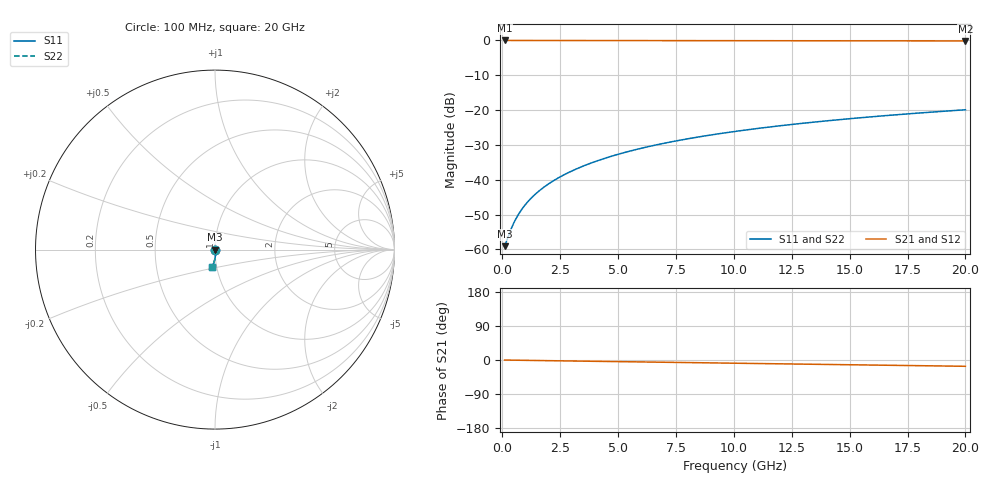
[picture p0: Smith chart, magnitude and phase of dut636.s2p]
! Touchstone file exported from HFSS 2026.1.0
!  File:  C:/ffzhzh/LocalFiles/Ansys_Project_Files/temp_train_BSMRDL_636_1783016677_55676.aedt
!  Generated:  02:25:53 AM Jul  3, 2026
!  Design:  BSMRDL
!  Project:  temp_train_BSMRDL_636_1783016677_55676
! Variables:
!  h_bsmrdl = 5.38um
!  h_ox = 20um
!  h_rdl = 5um
!  h_sub = 80um
!  h_tmrdl = 5um
!  h_tsv = 80um
!  h_via = 3um
!  l_bsmrdl = 274.62um
!  l_sub = 674.62um
!  l_tmrdl = 200um
!  m_sub = 200um
!  pitch = 22.31um
!  r_tsv = 6um
!  s_tmrdl = 10um
!  w_bsmrdl = 20.18um
!  w_sub = 500um
!  w_tmrdl = 12um
!  x_tsv_center1 = 206um
!  x_tsv_center2 = 500.8um
!  x_tsv_center3 = 712.8um
!  x_tsv_center4 = 1007.6um
!  x_tsv_center5 = 1219.6um
!  x_tsv_center6 = 1514.4um
# GHz S MA R 50.000000
! Terminal data exported
! Port[1] = BSM_RDL1_1_T1
! Port[2] = BSM_RDL1_1_T2
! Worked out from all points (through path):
!   200 points, 100 MHz to 20 GHz, reference 50 ohm
!   highest |S21| = -0.01 dB at 100 MHz (marker M1); lowest = -0.1 dB at 20 GHz (marker M2)
!   group delay of S21, straight-line fit = 2.29 ps
!   lowest |S11| = -59.1 dB at 100 MHz (marker M3), VSWR 1.00, Z = 50.1 - j0.012 ohm
!   |S11| at or under -10 dB: start of sweep to end of sweep
!   |S22| runs from -59.1 to -19.9 dB; largest |S21 - S12| = 2.7e-15
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0.1  0.001115 -6.1  0.9989 -0.1  0.9989 -0.1  0.001115 -6.1
! Gamma 0 0 0 0
! Port Impedance 50 0 50 0
0.3  0.001689 -26.3  0.9985 -0.3  0.9985 -0.3  0.001689 -26.3
0.4  0.002041 -35.4  0.9983 -0.4  0.9983 -0.4  0.002041 -35.4
0.6  0.002798 -48.6  0.9981 -0.6  0.9981 -0.6  0.002798 -48.6
0.7  0.003192 -53.2  0.9981 -0.6  0.9981 -0.6  0.003192 -53.2
0.9  0.004002 -59.9  0.9979 -0.8  0.9979 -0.8  0.004002 -59.9
1.2  0.005254 -66.2  0.9978 -1.1  0.9978 -1.1  0.005254 -66.2
1.4  0.006107 -69.0  0.9977 -1.3  0.9977 -1.3  0.006107 -69.0
1.7  0.007412 -72.0  0.9975 -1.5  0.9975 -1.5  0.007412 -72.0
2.2  0.009646 -75.1  0.9972 -1.9  0.9972 -1.9  0.009646 -75.1
2.8  0.01242 -77.5  0.9967 -2.5  0.9967 -2.5  0.01242 -77.5
3.5  0.01576 -79.5  0.9962 -3.1  0.9962 -3.1  0.01576 -79.5
4.2  0.0192 -81.0  0.9956 -3.7  0.9956 -3.7  0.0192 -81.0
5  0.02322 -82.5  0.995 -4.3  0.995 -4.3  0.02322 -82.5
5.9  0.02781 -84.0  0.9943 -5.1  0.9943 -5.1  0.02781 -84.0
6.8  0.03246 -85.4  0.9936 -5.8  0.9936 -5.8  0.03246 -85.4
8.3  0.04027 -87.6  0.9925 -7.1  0.9925 -7.1  0.04027 -87.6
10.1  0.04968 -89.9  0.9913 -8.5  0.9913 -8.5  0.04968 -89.9
11.7  0.05805 -91.8  0.9902 -9.9  0.9902 -9.9  0.05806 -91.8
13.4  0.06694 -93.7  0.9889 -11.2  0.9889 -11.2  0.06694 -93.7
16.7  0.0841 -97.2  0.9864 -13.9  0.9864 -13.9  0.0841 -97.2
20  0.1011 -100.4  0.9837 -16.6  0.9837 -16.6  0.1011 -100.4
